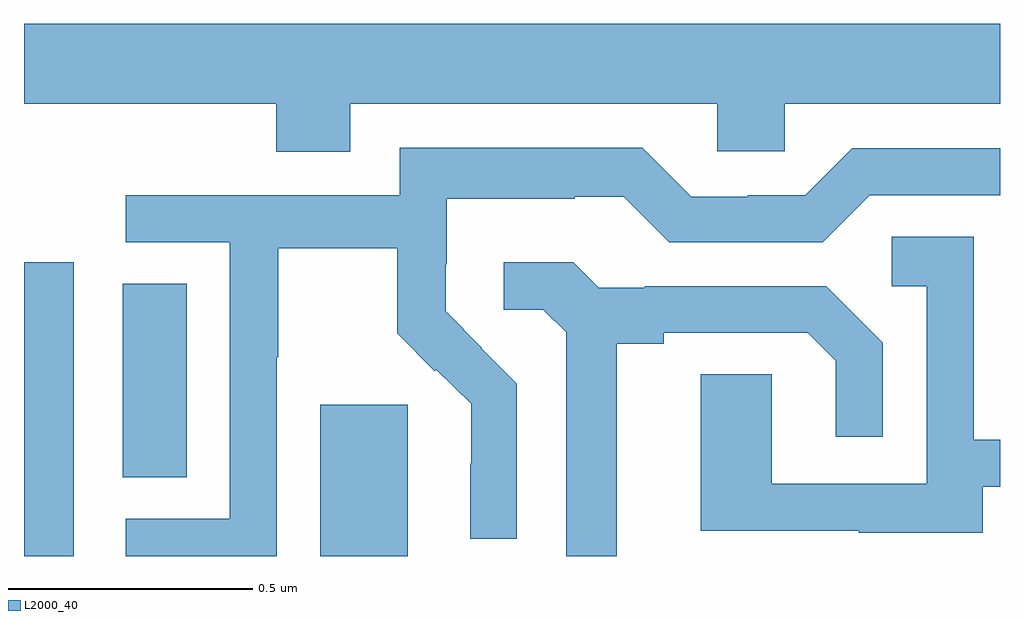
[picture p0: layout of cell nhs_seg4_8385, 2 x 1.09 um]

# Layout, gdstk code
import gdstk
lib = gdstk.Library(unit=1e-6, precision=1e-09)
def R(c, l, rs):  # rectangles x0, y0, x1, y1
    for r in rs: c.add(gdstk.rectangle(r[:2], r[2:], *l))
def P(c, l, *ps):  # polygons
    for p in ps: c.add(gdstk.Polygon(p, *l))
L2000_40 = (2000, 40)

nhs_seg4_8385 = lib.new_cell('nhs_seg4_8385')
R(nhs_seg4_8385, L2000_40, [(214,787.9,214.102,788.503), (214.607,787.9,214.786,788.211), (214.202,788.062,214.333,788.459)])
P(nhs_seg4_8385, L2000_40, [(214.669,788.828),(215.421,788.828),(215.421,788.73),(215.559,788.73),(215.559,788.828),(216,788.828),(216,788.992),(214,788.992),(214,788.828),(214.517,788.828),(214.517,788.729),(214.669,788.729)],
  [(214.518,788.308),(214.521,788.308),(214.521,788.532),(214.765,788.532),(214.765,788.357),(214.842,788.28),(214.845,788.283),(214.916,788.213),(214.916,788.09),(214.914,788.09),(214.914,787.936),(215.01,787.936),(215.01,788.254),(214.937,788.327),(214.938,788.328),(214.864,788.402),(214.864,788.499),(214.866,788.499),(214.866,788.633),(215.129,788.633),(215.129,788.637),(215.229,788.637),(215.322,788.544),(215.637,788.544),(215.733,788.64),(216,788.64),(216,788.736),(215.697,788.736),(215.601,788.64),(215.483,788.64),(215.483,788.637),(215.367,788.637),(215.267,788.737),(214.77,788.737),(214.77,788.64),(214.209,788.64),(214.209,788.544),(214.422,788.544),(214.422,787.977),(214.209,787.977),(214.209,787.9),(214.518,787.9)],
  [(215.965,788.043),(216,788.043),(216,788.139),(215.946,788.139),(215.946,788.555),(215.778,788.555),(215.778,788.454),(215.85,788.454),(215.85,788.049),(215.532,788.049),(215.532,788.273),(215.387,788.273),(215.387,787.953),(215.711,787.953),(215.711,787.949),(215.965,787.949)],
  [(215.215,788.336),(215.311,788.336),(215.311,788.358),(215.606,788.358),(215.663,788.301),(215.663,788.145),(215.76,788.145),(215.76,788.338),(215.644,788.454),(215.272,788.454),(215.272,788.451),(215.178,788.451),(215.126,788.503),(214.983,788.503),(214.983,788.406),(215.064,788.406),(215.111,788.359),(215.111,787.9),(215.215,787.9)])

lib.write_gds('nhs_seg4_8385.gds')
